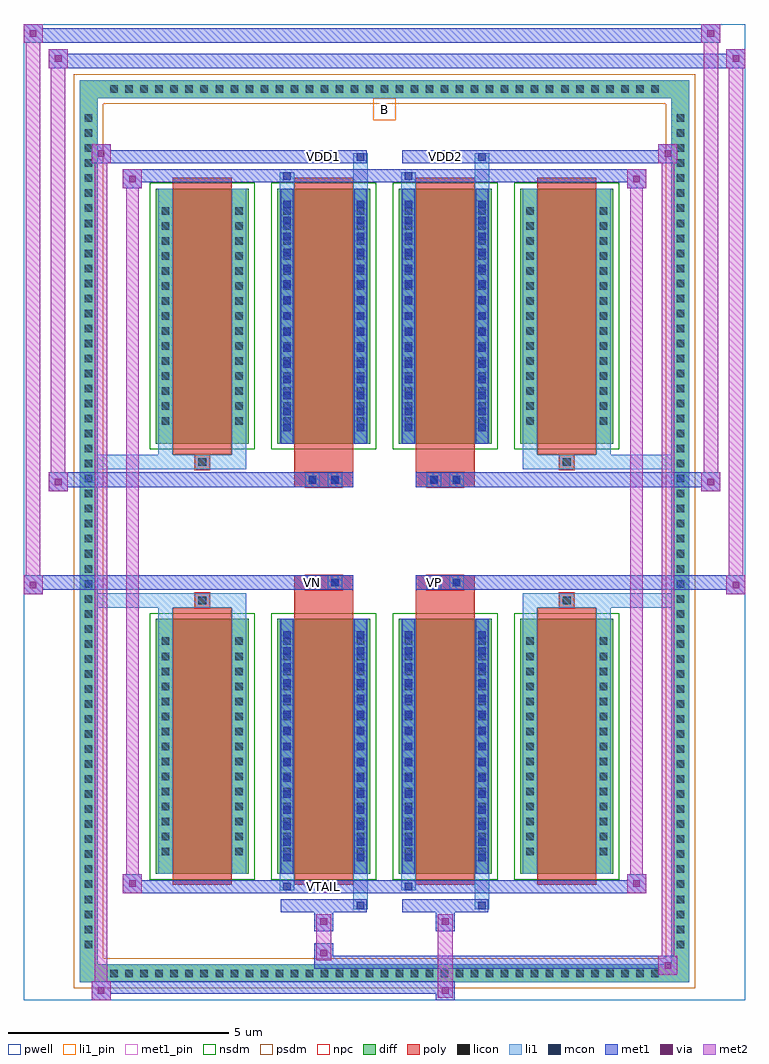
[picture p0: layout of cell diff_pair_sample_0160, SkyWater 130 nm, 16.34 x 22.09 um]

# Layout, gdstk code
import gdstk
lib = gdstk.Library(unit=1e-6, precision=5e-09)
def R(c, l, rs):  # rectangles x0, y0, x1, y1
    for r in rs: c.add(gdstk.rectangle(r[:2], r[2:], *l))
def A(c, l, x, y, w, h, nx, ny, dx, dy):  # array of equal rectangles
    R(c, l, [(x+i*dx, y+j*dy, x+i*dx+w, y+j*dy+h) for i in range(nx) for j in range(ny)])
def P(c, l, *ps):  # polygons
    for p in ps: c.add(gdstk.Polygon(p, *l))
pwell = (64, 44)
diff = (65, 20)
poly = (66, 20)
licon = (66, 44)
li1_pin = (67, 16)
li1 = (67, 20)
mcon = (67, 44)
met1_pin = (68, 16)
met1 = (68, 20)
via = (68, 44)
met2 = (69, 20)
nsdm = (93, 44)
psdm = (94, 20)
npc = (95, 20)

diff_pair_sample_0160 = lib.new_cell('diff_pair_sample_0160')
R(diff_pair_sample_0160, pwell, [(-8.17,-10.61,8.17,11.48), (-5.49,-8.8,-0.01,-0.8), (0.01,-8.8,5.49,-0.8), (-5.49,0.8,-0.01,8.8), (0.01,0.8,5.49,8.8)])
A(diff_pair_sample_0160, diff, -6.325, -10.21, 0.41, 0.41, 37, 2, 0.34, 20.01)
A(diff_pair_sample_0160, diff, -6.9, -9.555, 0.41, 0.41, 1, 56, 0, 0.34)
A(diff_pair_sample_0160, diff, 6.49, -9.555, 0.41, 0.41, 1, 56, 0, 0.34)
A(diff_pair_sample_0160, diff, -5.18, -7.755, 2.11, 5.77, 4, 2, 2.75, 9.74)
R(diff_pair_sample_0160, diff, [(-6.325,-10.21,6.325,-9.8), (-6.9,-9.555,-6.49,9.555), (6.49,-9.555,6.9,9.555), (-6.325,9.8,6.325,10.21)])
P(diff_pair_sample_0160, diff, [(6.9,10.21),(-6.9,10.21),(-6.9,-9.8),(-6.49,-9.8),(-6.49,9.8),(6.49,9.8),(6.49,-9.8),(-6.49,-9.8),(-6.9,-9.8),(-6.9,-10.21),(6.9,-10.21)])
A(diff_pair_sample_0160, poly, -4.79, -8.005, 1.33, 6.27, 4, 2, 2.75, 9.74)
R(diff_pair_sample_0160, poly, [(-4.29,-1.735,-3.96,-1.405), (-4.29,-1.735,-3.96,-1.405), (-2.04,-1.735,-0.71,-1.33), (0.71,-1.735,2.04,-1.33), (3.96,-1.735,4.29,-1.405), (3.96,-1.735,4.29,-1.405), (-2.04,-1.33,-0.71,-1), (-1.79,-1.33,-1.46,-1), (-1.29,-1.33,-0.96,-1), (0.71,-1.33,2.04,-1), (0.96,-1.33,1.29,-1), (1.46,-1.33,1.79,-1), (-2.04,1,-0.71,1.33), (-1.79,1,-1.46,1.33), (-1.29,1,-0.96,1.33), (0.71,1,2.04,1.33), (0.96,1,1.29,1.33), (1.46,1,1.79,1.33), (-2.04,1.33,-0.71,1.735), (0.71,1.33,2.04,1.735), (-4.29,1.405,-3.96,1.735), (-4.29,1.405,-3.96,1.735), (3.96,1.405,4.29,1.735), (3.96,1.405,4.29,1.735)])
A(diff_pair_sample_0160, licon, -6.205, -10.09, 0.17, 0.17, 37, 2, 0.34, 20.01)
A(diff_pair_sample_0160, licon, -6.78, -9.435, 0.17, 0.17, 1, 56, 0, 0.34)
A(diff_pair_sample_0160, licon, 6.61, -9.435, 0.17, 0.17, 1, 56, 0, 0.34)
A(diff_pair_sample_0160, licon, -5.04, -7.335, 0.17, 0.17, 1, 15, 0, 0.34)
A(diff_pair_sample_0160, licon, -3.38, -7.335, 0.17, 0.17, 1, 15, 0, 0.34)
A(diff_pair_sample_0160, licon, -2.29, -7.335, 0.17, 0.17, 1, 15, 0, 0.34)
A(diff_pair_sample_0160, licon, -0.63, -7.335, 0.17, 0.17, 1, 15, 0, 0.34)
A(diff_pair_sample_0160, licon, 0.46, -7.335, 0.17, 0.17, 1, 15, 0, 0.34)
A(diff_pair_sample_0160, licon, 2.12, -7.335, 0.17, 0.17, 1, 15, 0, 0.34)
A(diff_pair_sample_0160, licon, 3.21, -7.335, 0.17, 0.17, 1, 15, 0, 0.34)
A(diff_pair_sample_0160, licon, 4.87, -7.335, 0.17, 0.17, 1, 15, 0, 0.34)
A(diff_pair_sample_0160, licon, -5.04, 2.405, 0.17, 0.17, 1, 15, 0, 0.34)
A(diff_pair_sample_0160, licon, -3.38, 2.405, 0.17, 0.17, 1, 15, 0, 0.34)
A(diff_pair_sample_0160, licon, -2.29, 2.405, 0.17, 0.17, 1, 15, 0, 0.34)
A(diff_pair_sample_0160, licon, -0.63, 2.405, 0.17, 0.17, 1, 15, 0, 0.34)
A(diff_pair_sample_0160, licon, 0.46, 2.405, 0.17, 0.17, 1, 15, 0, 0.34)
A(diff_pair_sample_0160, licon, 2.12, 2.405, 0.17, 0.17, 1, 15, 0, 0.34)
A(diff_pair_sample_0160, licon, 3.21, 2.405, 0.17, 0.17, 1, 15, 0, 0.34)
A(diff_pair_sample_0160, licon, 4.87, 2.405, 0.17, 0.17, 1, 15, 0, 0.34)
R(diff_pair_sample_0160, licon, [(-4.21,-1.655,-4.04,-1.485), (4.04,-1.655,4.21,-1.485), (-1.71,-1.25,-1.54,-1.08), (-1.21,-1.25,-1.04,-1.08), (1.04,-1.25,1.21,-1.08), (1.54,-1.25,1.71,-1.08), (-1.71,1.08,-1.54,1.25), (-1.21,1.08,-1.04,1.25), (1.04,1.08,1.21,1.25), (1.54,1.08,1.71,1.25), (-4.21,1.485,-4.04,1.655), (4.04,1.485,4.21,1.655)])
R(diff_pair_sample_0160, li1_pin, [(-0.25,9.3,0.25,9.8)])
A(diff_pair_sample_0160, li1, -6.285, -10.17, 0.33, 0.33, 37, 2, 0.34, 20.01)
A(diff_pair_sample_0160, li1, -6.86, -9.515, 0.33, 0.33, 1, 56, 0, 0.34)
A(diff_pair_sample_0160, li1, 6.53, -9.515, 0.33, 0.33, 1, 56, 0, 0.34)
A(diff_pair_sample_0160, li1, -2.29, -7.475, 0.17, 0.17, 1, 15, 0, 0.36)
A(diff_pair_sample_0160, li1, -0.63, -7.475, 0.17, 0.17, 1, 15, 0, 0.36)
A(diff_pair_sample_0160, li1, 0.46, -7.475, 0.17, 0.17, 1, 15, 0, 0.36)
A(diff_pair_sample_0160, li1, 2.12, -7.475, 0.17, 0.17, 1, 15, 0, 0.36)
A(diff_pair_sample_0160, li1, -5.12, -7.415, 0.33, 0.33, 1, 15, 0, 0.34)
A(diff_pair_sample_0160, li1, -3.46, -7.415, 0.33, 0.33, 1, 15, 0, 0.34)
A(diff_pair_sample_0160, li1, -2.37, -7.415, 0.33, 0.33, 1, 15, 0, 0.34)
A(diff_pair_sample_0160, li1, -0.71, -7.415, 0.33, 0.33, 1, 15, 0, 0.34)
A(diff_pair_sample_0160, li1, 0.38, -7.415, 0.33, 0.33, 1, 15, 0, 0.34)
A(diff_pair_sample_0160, li1, 2.04, -7.415, 0.33, 0.33, 1, 15, 0, 0.34)
A(diff_pair_sample_0160, li1, 3.13, -7.415, 0.33, 0.33, 1, 15, 0, 0.34)
A(diff_pair_sample_0160, li1, 4.79, -7.415, 0.33, 0.33, 1, 15, 0, 0.34)
A(diff_pair_sample_0160, li1, -2.29, 2.265, 0.17, 0.17, 1, 15, 0, 0.36)
A(diff_pair_sample_0160, li1, -0.63, 2.265, 0.17, 0.17, 1, 15, 0, 0.36)
A(diff_pair_sample_0160, li1, 0.46, 2.265, 0.17, 0.17, 1, 15, 0, 0.36)
A(diff_pair_sample_0160, li1, 2.12, 2.265, 0.17, 0.17, 1, 15, 0, 0.36)
A(diff_pair_sample_0160, li1, -5.12, 2.325, 0.33, 0.33, 1, 15, 0, 0.34)
A(diff_pair_sample_0160, li1, -3.46, 2.325, 0.33, 0.33, 1, 15, 0, 0.34)
A(diff_pair_sample_0160, li1, -2.37, 2.325, 0.33, 0.33, 1, 15, 0, 0.34)
A(diff_pair_sample_0160, li1, -0.71, 2.325, 0.33, 0.33, 1, 15, 0, 0.34)
A(diff_pair_sample_0160, li1, 0.38, 2.325, 0.33, 0.33, 1, 15, 0, 0.34)
A(diff_pair_sample_0160, li1, 2.04, 2.325, 0.33, 0.33, 1, 15, 0, 0.34)
A(diff_pair_sample_0160, li1, 3.13, 2.325, 0.33, 0.33, 1, 15, 0, 0.34)
A(diff_pair_sample_0160, li1, 4.79, 2.325, 0.33, 0.33, 1, 15, 0, 0.34)
R(diff_pair_sample_0160, li1, [(-6.9,-10.21,-6.49,-9.8), (-6.9,-10.21,-6.49,-9.8), (-6.49,-10.21,6.49,-9.8), (6.49,-10.21,6.9,-9.8), (6.49,-10.21,6.9,-9.8), (-6.9,-9.8,-6.49,9.8), (6.49,-9.8,6.9,9.8), (-0.71,-8.56,-0.38,-7.755), (-0.63,-8.56,-0.46,-8.39), (2.04,-8.56,2.37,-7.755), (2.12,-8.56,2.29,-8.39), (-2.37,-8.13,-2.04,-7.755), (-2.29,-8.13,-2.12,-7.96), (0.38,-8.13,0.71,-7.755), (0.46,-8.13,0.63,-7.96), (-5.12,-7.755,-4.79,-1.985), (-3.46,-7.755,-3.13,-1.985), (-2.37,-7.755,-2.04,-1.985), (-0.71,-7.755,-0.38,-1.985), (0.38,-7.755,0.71,-1.985), (2.04,-7.755,2.37,-1.985), (3.13,-7.755,3.46,-1.985), (4.79,-7.755,5.12,-1.985), (-2.29,-7.475,-2.12,-2.265), (-0.63,-7.475,-0.46,-2.265), (0.46,-7.475,0.63,-2.265), (2.12,-7.475,2.29,-2.265), (-5.12,-1.985,-4.79,-1.405), (-3.46,-1.985,-3.13,-1.405), (3.13,-1.985,3.46,-1.405), (4.79,-1.985,5.12,-1.405), (-6.9,-1.735,-4.29,-1.405), (-5.12,-1.735,-4.29,-1.405), (-4.29,-1.735,-3.96,-1.405), (-3.96,-1.735,-3.13,-1.405), (3.13,-1.735,3.96,-1.405), (3.96,-1.735,4.29,-1.405), (3.96,-1.735,6.9,-1.405), (4.29,-1.735,5.12,-1.405), (-1.79,-1.33,-1.46,-1), (-1.29,-1.33,-0.96,-1), (0.96,-1.33,1.29,-1), (1.46,-1.33,1.79,-1), (-1.79,1,-1.46,1.33), (-1.29,1,-0.96,1.33), (0.96,1,1.29,1.33), (1.46,1,1.79,1.33), (-6.9,1.405,-4.29,1.735), (-5.12,1.405,-4.29,1.735), (-5.12,1.405,-4.79,1.985), (-4.29,1.405,-3.96,1.735), (-3.96,1.405,-3.13,1.735), (-3.46,1.405,-3.13,1.985), (3.13,1.405,3.96,1.735), (3.13,1.405,3.46,1.985), (3.96,1.405,4.29,1.735), (3.96,1.405,6.9,1.735), (4.29,1.405,5.12,1.735), (4.79,1.405,5.12,1.985), (-5.12,1.985,-4.79,7.755), (-3.46,1.985,-3.13,7.755), (-2.37,1.985,-2.04,7.755), (-0.71,1.985,-0.38,7.755), (0.38,1.985,0.71,7.755), (2.04,1.985,2.37,7.755), (3.13,1.985,3.46,7.755), (4.79,1.985,5.12,7.755), (-2.29,2.265,-2.12,7.475), (-0.63,2.265,-0.46,7.475), (0.46,2.265,0.63,7.475), (2.12,2.265,2.29,7.475), (-2.37,7.755,-2.04,8.13), (-0.71,7.755,-0.38,8.56), (0.38,7.755,0.71,8.13), (2.04,7.755,2.37,8.56), (-2.29,7.96,-2.12,8.13), (0.46,7.96,0.63,8.13), (-0.63,8.39,-0.46,8.56), (2.12,8.39,2.29,8.56), (-6.9,9.8,-6.49,10.21), (-6.9,9.8,-6.49,10.21), (-6.49,9.8,6.49,10.21), (6.49,9.8,6.9,10.21), (6.49,9.8,6.9,10.21)])
A(diff_pair_sample_0160, mcon, -2.29, -7.475, 0.17, 0.17, 1, 15, 0, 0.36)
A(diff_pair_sample_0160, mcon, -0.63, -7.475, 0.17, 0.17, 1, 15, 0, 0.36)
A(diff_pair_sample_0160, mcon, 0.46, -7.475, 0.17, 0.17, 1, 15, 0, 0.36)
A(diff_pair_sample_0160, mcon, 2.12, -7.475, 0.17, 0.17, 1, 15, 0, 0.36)
A(diff_pair_sample_0160, mcon, -2.29, 2.265, 0.17, 0.17, 1, 15, 0, 0.36)
A(diff_pair_sample_0160, mcon, -0.63, 2.265, 0.17, 0.17, 1, 15, 0, 0.36)
A(diff_pair_sample_0160, mcon, 0.46, 2.265, 0.17, 0.17, 1, 15, 0, 0.36)
A(diff_pair_sample_0160, mcon, 2.12, 2.265, 0.17, 0.17, 1, 15, 0, 0.36)
R(diff_pair_sample_0160, mcon, [(-0.63,-8.56,-0.46,-8.39), (2.12,-8.56,2.29,-8.39), (-2.29,-8.13,-2.12,-7.96), (0.46,-8.13,0.63,-7.96), (-1.71,-1.25,-1.54,-1.08), (-1.21,-1.25,-1.04,-1.08), (1.04,-1.25,1.21,-1.08), (1.54,-1.25,1.71,-1.08), (-1.71,1.08,-1.54,1.25), (-1.21,1.08,-1.04,1.25), (1.04,1.08,1.21,1.25), (1.54,1.08,1.71,1.25), (-2.29,7.96,-2.12,8.13), (0.46,7.96,0.63,8.13), (-0.63,8.39,-0.46,8.56), (2.12,8.39,2.29,8.56)])
R(diff_pair_sample_0160, met1_pin, [(-1.51,-8.17,-1.24,-7.9), (-1.76,-1.29,-1.49,-1.02), (0.99,-1.29,1.26,-1.02), (-1.51,8.35,-1.24,8.62), (1.24,8.35,1.51,8.62)])
A(diff_pair_sample_0160, met1, -2.35, -7.535, 0.29, 0.29, 1, 15, 0, 0.36)
A(diff_pair_sample_0160, met1, -0.69, -7.535, 0.29, 0.29, 1, 15, 0, 0.36)
A(diff_pair_sample_0160, met1, 0.4, -7.535, 0.29, 0.29, 1, 15, 0, 0.36)
A(diff_pair_sample_0160, met1, 2.06, -7.535, 0.29, 0.29, 1, 15, 0, 0.36)
A(diff_pair_sample_0160, met1, -2.35, 2.205, 0.29, 0.29, 1, 15, 0, 0.36)
A(diff_pair_sample_0160, met1, -0.69, 2.205, 0.29, 0.29, 1, 15, 0, 0.36)
A(diff_pair_sample_0160, met1, 0.4, 2.205, 0.29, 0.29, 1, 15, 0, 0.36)
A(diff_pair_sample_0160, met1, 2.06, 2.205, 0.29, 0.29, 1, 15, 0, 0.36)
R(diff_pair_sample_0160, met1, [(-6.63,-10.61,-6.2,-10.18), (1.16,-10.61,1.59,-10.18), (-6.63,-10.47,1.59,-10.18), (6.2,-10.04,6.63,-9.61), (-1.59,-9.9,6.63,-9.61), (-1.59,-9.76,-1.16,-9.33), (-1.59,-9.05,-1.16,-8.62), (1.16,-9.05,1.59,-8.62), (-2.35,-8.62,-0.4,-8.33), (-0.69,-8.62,-0.4,-8.33), (0.4,-8.62,2.35,-8.33), (2.06,-8.62,2.35,-8.33), (-5.92,-8.19,-5.49,-7.76), (-5.92,-8.19,-2.35,-7.9), (-2.35,-8.19,-2.06,-7.9), (-2.35,-8.19,-0.4,-7.9), (-0.4,-8.19,0.4,-7.9), (0.4,-8.19,0.69,-7.9), (0.4,-8.19,2.35,-7.9), (2.35,-8.19,5.92,-7.9), (5.49,-8.19,5.92,-7.76), (-2.35,-7.755,-2.06,-1.985), (-0.69,-7.755,-0.4,-1.985), (0.4,-7.755,0.69,-1.985), (2.06,-7.755,2.35,-1.985), (-8.17,-1.43,-7.74,-1), (7.74,-1.43,8.17,-1), (-8.17,-1.33,-0.71,-1), (-2.04,-1.33,-0.71,-1), (0.71,-1.33,2.04,-1), (0.71,-1.33,8.17,-1), (-1.77,-1.31,-1.48,-1.02), (-1.27,-1.31,-0.98,-1.02), (0.98,-1.31,1.27,-1.02), (1.48,-1.31,1.77,-1.02), (-7.6,0.9,-7.17,1.33), (7.17,0.9,7.6,1.33), (-7.6,1,-2.04,1.33), (-2.04,1,-0.71,1.33), (0.71,1,2.04,1.33), (2.04,1,7.6,1.33), (-1.77,1.02,-1.48,1.31), (-1.27,1.02,-0.98,1.31), (0.98,1.02,1.27,1.31), (1.48,1.02,1.77,1.31), (-2.35,1.985,-2.06,7.755), (-0.69,1.985,-0.4,7.755), (0.4,1.985,0.69,7.755), (2.06,1.985,2.35,7.755), (-5.92,7.76,-5.49,8.19), (5.49,7.76,5.92,8.19), (-5.92,7.9,-2.35,8.19), (-2.35,7.9,-2.06,8.19), (-2.35,7.9,-0.4,8.19), (-0.4,7.9,0.4,8.19), (0.4,7.9,0.69,8.19), (0.4,7.9,2.35,8.19), (2.35,7.9,5.92,8.19), (-6.63,8.33,-6.2,8.76), (-6.63,8.33,-2.35,8.62), (-2.35,8.33,-0.4,8.62), (-0.69,8.33,-0.4,8.62), (0.4,8.33,2.35,8.62), (2.06,8.33,2.35,8.62), (2.35,8.33,6.63,8.62), (6.2,8.33,6.63,8.76), (-7.6,10.48,-7.17,10.91), (-7.6,10.48,-5.49,10.81), (-5.49,10.48,5.49,10.81), (5.49,10.48,8.17,10.81), (7.74,10.48,8.17,10.91), (-8.17,11.05,-7.74,11.48), (-8.17,11.05,-5.49,11.38), (-5.49,11.05,5.49,11.38), (5.49,11.05,7.6,11.38), (7.17,11.05,7.6,11.48)])
R(diff_pair_sample_0160, via, [(-6.49,-10.47,-6.34,-10.32), (1.3,-10.47,1.45,-10.32), (6.34,-9.9,6.49,-9.75), (-1.45,-9.62,-1.3,-9.47), (-1.45,-8.91,-1.3,-8.76), (1.3,-8.91,1.45,-8.76), (-5.78,-8.05,-5.63,-7.9), (5.63,-8.05,5.78,-7.9), (-8.03,-1.29,-7.88,-1.14), (7.88,-1.29,8.03,-1.14), (-7.46,1.04,-7.31,1.19), (7.31,1.04,7.46,1.19), (-5.78,7.9,-5.63,8.05), (5.63,7.9,5.78,8.05), (-6.49,8.47,-6.34,8.62), (6.34,8.47,6.49,8.62), (-7.46,10.62,-7.31,10.77), (7.88,10.62,8.03,10.77), (-8.03,11.19,-7.88,11.34), (7.31,11.19,7.46,11.34)])
R(diff_pair_sample_0160, met2, [(-6.63,-10.61,-6.2,-10.18), (-6.56,-10.61,-6.27,8.76), (-6.27,-10.61,-6.2,-10.18), (-6.58,-10.56,-6.25,-10.23), (1.21,-10.56,1.54,-10.23), (1.21,-10.23,1.54,-9), (6.2,-10.04,6.63,-9.61), (6.27,-10.04,6.56,8.76), (6.56,-10.04,6.63,-9.61), (6.25,-9.99,6.58,-9.66), (-1.54,-9.71,-1.21,-9.38), (-1.54,-9.38,-1.21,-9), (-1.54,-9,-1.21,-8.67), (1.21,-9,1.54,-8.67), (-5.92,-8.19,-5.49,-7.76), (-5.85,-8.19,-5.56,8.19), (-5.56,-8.19,-5.49,-7.76), (5.49,-8.19,5.92,-7.76), (5.56,-8.19,5.85,8.19), (5.85,-8.19,5.92,-7.76), (-5.87,-8.14,-5.54,-7.81), (5.54,-8.14,5.87,-7.81), (-8.17,-1.43,-7.74,-1), (-8.12,-1.43,-7.79,11.48), (-7.79,-1.43,-7.74,-1), (7.74,-1.43,8.17,-1), (7.79,-1.43,8.12,10.91), (8.12,-1.43,8.17,-1), (-8.12,-1.38,-7.79,-1.05), (7.79,-1.38,8.12,-1.05), (-7.6,0.9,-7.17,1.33), (-7.55,0.9,-7.22,10.91), (-7.22,0.9,-7.17,1.33), (7.17,0.9,7.6,1.33), (7.22,0.9,7.55,11.48), (7.55,0.9,7.6,1.33), (-7.55,0.95,-7.22,1.28), (7.22,0.95,7.55,1.28), (-5.92,7.76,-5.49,8.19), (-5.56,7.76,-5.49,8.19), (5.49,7.76,5.92,8.19), (5.85,7.76,5.92,8.19), (-5.87,7.81,-5.54,8.14), (5.54,7.81,5.87,8.14), (-6.63,8.33,-6.2,8.76), (-6.27,8.33,-6.2,8.76), (6.2,8.33,6.63,8.76), (6.56,8.33,6.63,8.76), (-6.58,8.38,-6.25,8.71), (6.25,8.38,6.58,8.71), (-7.6,10.48,-7.17,10.91), (-7.22,10.48,-7.17,10.91), (7.74,10.48,8.17,10.91), (8.12,10.48,8.17,10.91), (-7.55,10.53,-7.22,10.86), (7.79,10.53,8.12,10.86), (-8.17,11.05,-7.74,11.48), (-7.79,11.05,-7.74,11.48), (7.17,11.05,7.6,11.48), (7.55,11.05,7.6,11.48), (-8.12,11.1,-7.79,11.43), (7.22,11.1,7.55,11.43)])
A(diff_pair_sample_0160, nsdm, -5.31, -7.885, 2.37, 6.03, 4, 2, 2.75, 9.74)
P(diff_pair_sample_0160, psdm, [(7.03,10.34),(-7.03,10.34),(-7.03,-9.67),(-6.36,-9.67),(-6.36,9.67),(6.36,9.67),(6.36,-9.67),(-6.36,-9.67),(-7.03,-9.67),(-7.03,-10.34),(7.03,-10.34)])
R(diff_pair_sample_0160, npc, [(-4.31,-1.755,-3.94,-1.385), (3.94,-1.755,4.31,-1.385), (-1.81,-1.35,-1.44,-0.98), (-1.81,-1.35,-0.94,-0.98), (-1.81,-1.35,-0.94,-0.98), (-1.31,-1.35,-0.94,-0.98), (0.94,-1.35,1.31,-0.98), (0.94,-1.35,1.81,-0.98), (0.94,-1.35,1.81,-0.98), (1.44,-1.35,1.81,-0.98), (-1.81,0.98,-1.44,1.35), (-1.81,0.98,-0.94,1.35), (-1.81,0.98,-0.94,1.35), (-1.31,0.98,-0.94,1.35), (0.94,0.98,1.31,1.35), (0.94,0.98,1.81,1.35), (0.94,0.98,1.81,1.35), (1.44,0.98,1.81,1.35), (-4.31,1.385,-3.94,1.755), (3.94,1.385,4.31,1.755)])
diff_pair_sample_0160.add(gdstk.Label('VTAIL', (-1.375,-8.035), layer=68, texttype=5))
diff_pair_sample_0160.add(gdstk.Label('VN', (-1.625,-1.155), layer=68, texttype=5))
diff_pair_sample_0160.add(gdstk.Label('VP', (1.125,-1.155), layer=68, texttype=5))
diff_pair_sample_0160.add(gdstk.Label('B', (0,9.55), layer=67, texttype=5))
diff_pair_sample_0160.add(gdstk.Label('VDD2', (1.375,8.485), layer=68, texttype=5))
diff_pair_sample_0160.add(gdstk.Label('VDD1', (-1.375,8.485), layer=68, texttype=5))

lib.write_gds('diff_pair_sample_0160.gds')
